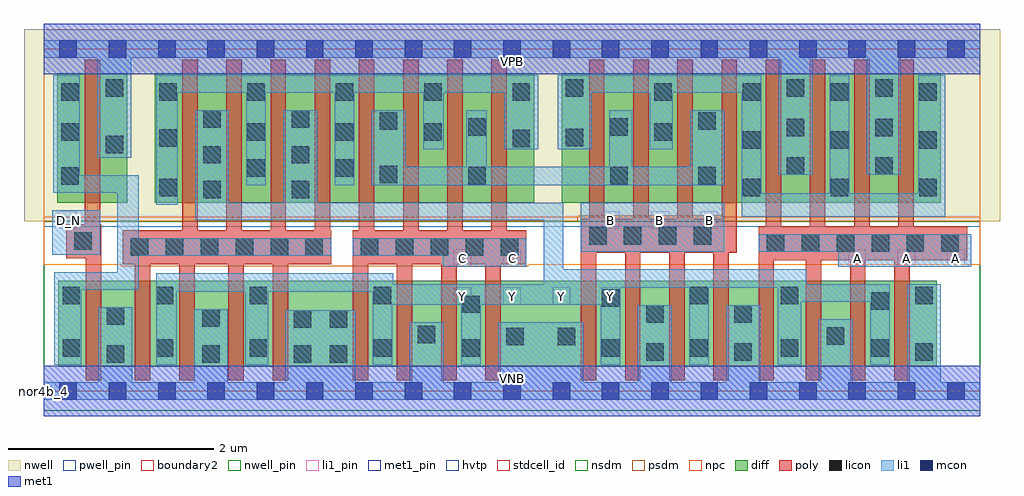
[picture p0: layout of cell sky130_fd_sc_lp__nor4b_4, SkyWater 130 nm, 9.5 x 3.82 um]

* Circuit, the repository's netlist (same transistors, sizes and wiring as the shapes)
* Copyright 2020 The SkyWater PDK Authors
*
* Licensed under the Apache License, Version 2.0 (the "License");
* you may not use this file except in compliance with the License.
* You may obtain a copy of the License at
*
*     https://www.apache.org/licenses/LICENSE-2.0
*
* Unless required by applicable law or agreed to in writing, software
* distributed under the License is distributed on an "AS IS" BASIS,
* WITHOUT WARRANTIES OR CONDITIONS OF ANY KIND, either express or implied.
* See the License for the specific language governing permissions and
* limitations under the License.
*
* SPDX-License-Identifier: Apache-2.0

.SUBCKT sky130_fd_sc_lp__nor4b_4 A B C D_N VGND VNB VPB VPWR Y
*.PININFO A:I B:I C:I D_N:I VGND:I VNB:I VPB:I VPWR:I Y:O
MMP0 VPWR A sndPA VPB sky130_fd_pr__pfet_01v8_hvt m=4 w=1.26U l=0.15U mult=1 sa=0.265
+ sb=0.265 sd=0.28 area=0.063 perim=1.14
MMP1 sndPA B sndPB VPB sky130_fd_pr__pfet_01v8_hvt m=4 w=1.26U l=0.15U mult=1 sa=0.265
+ sb=0.265 sd=0.28 area=0.063 perim=1.14
MMP2 sndPB C sndPC VPB sky130_fd_pr__pfet_01v8_hvt m=4 w=1.26U l=0.15U mult=1 sa=0.265
+ sb=0.265 sd=0.28 area=0.063 perim=1.14
MMP3 sndPC D Y VPB sky130_fd_pr__pfet_01v8_hvt m=4 w=1.26U l=0.15U mult=1 sa=0.265
+ sb=0.265 sd=0.28 area=0.063 perim=1.14
MMIP3 D D_N VPWR VPB sky130_fd_pr__pfet_01v8_hvt m=1 w=1.26U l=0.15U mult=1 sa=0.265
+ sb=0.265 sd=0.28 area=0.063 perim=1.14
MMN0 Y A VGND VNB sky130_fd_pr__nfet_01v8 m=4 w=0.84U l=0.15U mult=1 sa=0.265 sb=0.265
+ sd=0.28 area=0.063 perim=1.14
MMN1 Y B VGND VNB sky130_fd_pr__nfet_01v8 m=4 w=0.84U l=0.15U mult=1 sa=0.265 sb=0.265
+ sd=0.28 area=0.063 perim=1.14
MMN2 Y C VGND VNB sky130_fd_pr__nfet_01v8 m=4 w=0.84U l=0.15U mult=1 sa=0.265 sb=0.265
+ sd=0.28 area=0.063 perim=1.14
MMN3 Y D VGND VNB sky130_fd_pr__nfet_01v8 m=4 w=0.84U l=0.15U mult=1 sa=0.265 sb=0.265
+ sd=0.28 area=0.063 perim=1.14
MMIN3 D D_N VGND VNB sky130_fd_pr__nfet_01v8 m=1 w=0.84U l=0.15U mult=1 sa=0.265
+ sb=0.265 sd=0.28 area=0.063 perim=1.14
.ENDS sky130_fd_sc_lp__nor4b_4

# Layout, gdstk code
import gdstk
lib = gdstk.Library(unit=1e-6, precision=1e-09)
def R(c, l, rs):  # rectangles x0, y0, x1, y1
    for r in rs: c.add(gdstk.rectangle(r[:2], r[2:], *l))
def A(c, l, x, y, w, h, nx, ny, dx, dy):  # array of equal rectangles
    R(c, l, [(x+i*dx, y+j*dy, x+i*dx+w, y+j*dy+h) for i in range(nx) for j in range(ny)])
def P(c, l, *ps):  # polygons
    for p in ps: c.add(gdstk.Polygon(p, *l))
nwell_pin = (64, 16)
nwell = (64, 20)
diff = (65, 20)
poly = (66, 20)
licon = (66, 44)
li1_pin = (67, 16)
li1 = (67, 20)
mcon = (67, 44)
met1_pin = (68, 16)
met1 = (68, 20)
hvtp = (78, 44)
stdcell_id = (81, 4)
nsdm = (93, 44)
psdm = (94, 20)
npc = (95, 20)
pwell_pin = (122, 16)
boundary2 = (236, 0)

sky130_fd_sc_lp__nor4b_4 = lib.new_cell('sky130_fd_sc_lp__nor4b_4')
R(sky130_fd_sc_lp__nor4b_4, nwell_pin, [(0,3.085,9.12,3.33)])
R(sky130_fd_sc_lp__nor4b_4, nwell, [(-0.19,1.655,9.31,3.52)])
R(sky130_fd_sc_lp__nor4b_4, diff, [(0.145,0.235,8.695,1.075), (0.135,1.835,0.815,3.095), (1.085,1.835,4.775,3.095), (5.045,1.835,8.735,3.095)])
P(sky130_fd_sc_lp__nor4b_4, poly, [(0.56,1.625),(0.55,1.625),(0.55,3.225),(0.4,3.225),(0.4,1.625),(0.22,1.625),(0.22,1.295),(0.41,1.295),(0.41,0.105),(0.56,0.105)],
  [(2.8,1.565),(2.79,1.565),(2.79,3.225),(2.64,3.225),(2.64,1.565),(2.36,1.565),(2.36,3.225),(2.21,3.225),(2.21,1.565),(1.93,1.565),(1.93,3.225),(1.78,3.225),(1.78,1.565),(1.5,1.565),(1.5,3.225),(1.35,3.225),(1.35,1.565),(0.77,1.565),(0.77,1.235),(0.89,1.235),(0.89,0.105),(1.04,0.105),(1.04,1.235),(1.32,1.235),(1.32,0.105),(1.47,0.105),(1.47,1.235),(1.8,1.235),(1.8,0.105),(1.95,0.105),(1.95,1.235),(2.23,1.235),(2.23,0.105),(2.38,0.105),(2.38,1.235),(2.8,1.235)],
  [(4.7,1.565),(4.51,1.565),(4.51,3.225),(4.36,3.225),(4.36,1.565),(4.08,1.565),(4.08,3.225),(3.93,3.225),(3.93,1.565),(3.65,1.565),(3.65,3.225),(3.5,3.225),(3.5,1.565),(3.22,1.565),(3.22,3.225),(3.07,3.225),(3.07,1.565),(3.01,1.565),(3.01,0.105),(3.16,0.105),(3.16,1.235),(3.44,1.235),(3.44,0.105),(3.59,0.105),(3.59,1.235),(3.87,1.235),(3.87,0.105),(4.02,0.105),(4.02,1.235),(4.3,1.235),(4.3,0.105),(4.45,0.105),(4.45,1.235),(4.7,1.235)],
  [(6.75,3.225),(6.6,3.225),(6.6,1.675),(6.32,1.675),(6.32,3.225),(6.17,3.225),(6.17,1.675),(5.89,1.675),(5.89,3.225),(5.74,3.225),(5.74,1.675),(5.46,1.675),(5.46,3.225),(5.31,3.225),(5.31,1.675),(5.23,1.675),(5.23,0.105),(5.38,0.105),(5.38,1.345),(5.66,1.345),(5.66,0.105),(5.81,0.105),(5.81,1.345),(6.09,1.345),(6.09,0.105),(6.24,0.105),(6.24,1.345),(6.52,1.345),(6.52,0.105),(6.67,0.105),(6.67,1.345),(6.75,1.345)],
  [(8.99,1.605),(8.47,1.605),(8.47,3.225),(8.32,3.225),(8.32,1.605),(8.04,1.605),(8.04,3.225),(7.89,3.225),(7.89,1.605),(7.61,1.605),(7.61,3.225),(7.46,3.225),(7.46,1.605),(7.18,1.605),(7.18,3.225),(7.03,3.225),(7.03,1.605),(6.96,1.605),(6.96,0.105),(7.11,0.105),(7.11,1.275),(7.42,1.275),(7.42,0.105),(7.57,0.105),(7.57,1.275),(7.85,1.275),(7.85,0.105),(8,0.105),(8,1.275),(8.28,1.275),(8.28,0.105),(8.43,0.105),(8.43,1.275),(8.99,1.275)])
A(sky130_fd_sc_lp__nor4b_4, licon, 0.185, 0.335, 0.17, 0.17, 3, 2, 0.91, 0.51)
A(sky130_fd_sc_lp__nor4b_4, licon, 6.295, 0.335, 0.17, 0.17, 3, 1, 0.88, 0)
A(sky130_fd_sc_lp__nor4b_4, licon, 0.85, 1.315, 0.17, 0.17, 6, 1, 0.34, 0)
A(sky130_fd_sc_lp__nor4b_4, licon, 3.09, 1.315, 0.17, 0.17, 5, 1, 0.34, 0)
A(sky130_fd_sc_lp__nor4b_4, licon, 7.04, 1.355, 0.17, 0.17, 6, 1, 0.34, 0)
A(sky130_fd_sc_lp__nor4b_4, licon, 5.31, 1.425, 0.17, 0.17, 4, 1, 0.34, 0)
A(sky130_fd_sc_lp__nor4b_4, licon, 6.805, 1.895, 0.17, 0.17, 3, 2, 0.86, 0.465)
A(sky130_fd_sc_lp__nor4b_4, licon, 1.985, 2.435, 0.17, 0.17, 3, 1, 0.86, 0)
A(sky130_fd_sc_lp__nor4b_4, licon, 1.125, 2.825, 0.17, 0.17, 5, 1, 0.86, 0)
A(sky130_fd_sc_lp__nor4b_4, licon, 5.945, 2.825, 0.17, 0.17, 4, 1, 0.86, 0)
R(sky130_fd_sc_lp__nor4b_4, licon, [(0.615,0.275,0.785,0.445), (1.545,0.275,1.715,0.445), (2.435,0.275,2.605,0.445), (2.785,0.275,2.955,0.445), (5.865,0.295,6.035,0.465), (6.725,0.295,6.895,0.465), (8.485,0.295,8.655,0.465), (3.215,0.335,3.385,0.505), (4.075,0.335,4.245,0.505), (5.435,0.335,5.605,0.505), (4.505,0.445,4.675,0.615), (5.005,0.445,5.175,0.615), (7.625,0.45,7.795,0.62), (3.645,0.465,3.815,0.635), (2.435,0.615,2.605,0.785), (2.785,0.615,2.955,0.785), (1.545,0.625,1.715,0.795), (0.615,0.645,0.785,0.815), (5.865,0.665,6.035,0.835), (6.725,0.665,6.895,0.835), (4.075,0.76,4.245,0.93), (8.055,0.79,8.225,0.96), (5.435,0.82,5.605,0.99), (3.215,0.845,3.385,1.015), (6.295,0.845,6.465,1.015), (7.175,0.845,7.345,1.015), (8.485,0.845,8.655,1.015), (0.3,1.375,0.47,1.545), (1.555,1.875,1.725,2.045), (2.415,1.875,2.585,2.045), (1.125,1.895,1.295,2.065), (0.175,2.01,0.345,2.18), (4.135,2.015,4.305,2.185), (5.515,2.015,5.685,2.185), (6.375,2.015,6.545,2.185), (3.275,2.025,3.445,2.195), (1.985,2.085,2.155,2.255), (2.845,2.085,3.015,2.255), (7.235,2.105,7.405,2.275), (8.095,2.105,8.265,2.275), (1.555,2.215,1.725,2.385), (2.415,2.215,2.585,2.385), (0.605,2.315,0.775,2.485), (4.565,2.375,4.735,2.545), (1.125,2.38,1.295,2.55), (5.085,2.385,5.255,2.555), (0.175,2.435,0.345,2.605), (5.945,2.435,6.115,2.605), (7.235,2.48,7.405,2.65), (8.095,2.48,8.265,2.65), (4.135,2.485,4.305,2.655), (5.515,2.485,5.685,2.655), (3.275,2.545,3.445,2.715), (6.375,2.545,6.545,2.715), (1.555,2.565,1.725,2.735), (2.415,2.565,2.585,2.735), (0.175,2.825,0.345,2.995), (0.605,2.865,0.775,3.035), (5.085,2.865,5.255,3.035), (7.235,2.865,7.405,3.035), (8.095,2.865,8.265,3.035)])
A(sky130_fd_sc_lp__nor4b_4, li1_pin, 3.995, 0.84, 0.17, 0.17, 4, 1, 0.48, 0)
A(sky130_fd_sc_lp__nor4b_4, li1_pin, 7.835, 1.21, 0.17, 0.17, 3, 1, 0.48, 0)
A(sky130_fd_sc_lp__nor4b_4, li1_pin, 5.435, 1.58, 0.17, 0.17, 3, 1, 0.48, 0)
R(sky130_fd_sc_lp__nor4b_4, li1_pin, [(3.995,1.21,4.165,1.38), (4.475,1.21,4.645,1.38), (0.155,1.58,0.325,1.75)])
R(sky130_fd_sc_lp__nor4b_4, li1, [(0.085,1.325,0.55,1.76), (5.23,1.355,6.625,1.835)])
P(sky130_fd_sc_lp__nor4b_4, li1, [(8.235,1.04),(7.425,1.04),(7.425,1.185),(5.06,1.185),(5.06,1.835),(2.665,1.835),(2.665,2.735),(2.335,2.735),(2.335,1.835),(1.805,1.835),(1.805,2.735),(1.475,2.735),(1.475,1.665),(4.87,1.665),(4.87,1.04),(3.405,1.04),(3.405,1.145),(1.095,1.145),(1.095,0.255),(1.295,0.255),(1.295,0.965),(1.965,0.965),(1.965,0.255),(2.185,0.255),(2.185,0.965),(3.205,0.965),(3.205,0.255),(3.395,0.255),(3.395,0.84),(4.065,0.84),(4.065,0.255),(4.255,0.255),(4.255,0.84),(5.425,0.84),(5.425,0.255),(5.615,0.255),(5.615,1.005),(6.285,1.005),(6.285,0.255),(6.475,0.255),(6.475,1.005),(7.145,1.005),(7.145,0.255),(7.375,0.255),(7.375,0.87),(8.045,0.87),(8.045,0.255),(8.235,0.255)],
  [(2.8,1.485),(0.925,1.485),(0.925,2.1),(0.355,2.1),(0.355,3.075),(0.095,3.075),(0.095,1.93),(0.72,1.93),(0.72,1.155),(0.105,1.155),(0.105,0.255),(0.365,0.255),(0.365,0.985),(0.925,0.985),(0.925,1.315),(2.8,1.315)],
  [(9.12,0.085),(8.735,0.085),(8.735,1.04),(8.405,1.04),(8.405,0.085),(7.875,0.085),(7.875,0.7),(7.545,0.7),(7.545,0.085),(6.975,0.085),(6.975,0.835),(6.645,0.835),(6.645,0.085),(6.115,0.085),(6.115,0.835),(5.785,0.835),(5.785,0.085),(5.255,0.085),(5.255,0.67),(4.425,0.67),(4.425,0.085),(3.895,0.085),(3.895,0.67),(3.565,0.67),(3.565,0.085),(3.035,0.085),(3.035,0.785),(2.355,0.785),(2.355,0.085),(1.795,0.085),(1.795,0.795),(1.465,0.795),(1.465,0.085),(0.865,0.085),(0.865,0.815),(0.535,0.815),(0.535,0.085),(0,0.085),(0,-0.085),(9.12,-0.085)],
  [(6.625,2.735),(6.295,2.735),(6.295,2.185),(5.73,2.185),(5.73,2.735),(5.505,2.735),(5.505,2.185),(4.315,2.185),(4.315,2.735),(4.115,2.735),(4.115,2.185),(3.525,2.185),(3.525,2.735),(3.195,2.735),(3.195,2.005),(6.625,2.005)],
  [(8.775,3.075),(8.515,3.075),(8.515,1.925),(7.845,1.925),(7.845,3.075),(7.655,3.075),(7.655,1.925),(6.985,1.925),(6.985,3.075),(5.005,3.075),(5.005,2.355),(5.335,2.355),(5.335,2.905),(5.9,2.905),(5.9,2.355),(6.125,2.355),(6.125,2.905),(6.795,2.905),(6.795,1.695),(8.775,1.695)],
  [(4.7,1.485),(3.01,1.485),(3.01,1.315),(3.885,1.315),(3.885,1.21),(4.7,1.21)],
  [(9.03,1.525),(6.96,1.525),(6.96,1.355),(7.735,1.355),(7.735,1.21),(9.03,1.21)],
  [(4.815,3.075),(1.095,3.075),(1.095,1.815),(1.305,1.815),(1.305,2.905),(1.975,2.905),(1.975,2.005),(2.165,2.005),(2.165,2.905),(2.835,2.905),(2.835,2.005),(3.025,2.005),(3.025,2.905),(3.695,2.905),(3.695,2.355),(3.895,2.355),(3.895,2.905),(4.485,2.905),(4.485,2.355),(4.815,2.355)],
  [(9.12,3.415),(0,3.415),(0,3.245),(0.525,3.245),(0.525,2.27),(0.855,2.27),(0.855,3.245),(7.155,3.245),(7.155,2.105),(7.485,2.105),(7.485,3.245),(8.015,3.245),(8.015,2.105),(8.345,2.105),(8.345,3.245),(9.12,3.245)])
A(sky130_fd_sc_lp__nor4b_4, mcon, 0.155, -0.085, 0.17, 0.17, 19, 2, 0.48, 3.33)
R(sky130_fd_sc_lp__nor4b_4, met1_pin, [(0,0,9.12,0.245), (0,3.085,9.12,3.33)])
R(sky130_fd_sc_lp__nor4b_4, met1, [(0,-0.245,9.12,0.245), (0,3.085,9.12,3.575)])
R(sky130_fd_sc_lp__nor4b_4, hvtp, [(0,1.6,9.12,3.33)])
R(sky130_fd_sc_lp__nor4b_4, stdcell_id, [(0,0,9.12,3.33)])
R(sky130_fd_sc_lp__nor4b_4, nsdm, [(0,-0.19,9.12,1.655)])
P(sky130_fd_sc_lp__nor4b_4, psdm, [(9.12,3.52),(0,3.52),(0,1.655),(5.2,1.655),(5.2,1.705),(6.61,1.705),(6.61,1.655),(9.12,1.655)])
P(sky130_fd_sc_lp__nor4b_4, npc, [(9.12,1.695),(0,1.695),(0,1.23),(0.75,1.23),(0.75,1.215),(4.72,1.215),(4.72,1.23),(9.12,1.23)])
R(sky130_fd_sc_lp__nor4b_4, pwell_pin, [(0,0,9.12,0.245)])
R(sky130_fd_sc_lp__nor4b_4, boundary2, [(0,0,9.12,3.33)])
sky130_fd_sc_lp__nor4b_4.add(gdstk.Label('VNB', (4.56,0.123), layer=64, texttype=59))
sky130_fd_sc_lp__nor4b_4.add(gdstk.Label('VPB', (4.56,3.208), layer=64, texttype=5))
sky130_fd_sc_lp__nor4b_4.add(gdstk.Label('nor4b_4', (0,0), layer=83, texttype=44))
sky130_fd_sc_lp__nor4b_4.add(gdstk.Label('VPWR', (4.56,3.208), layer=68, texttype=5))
sky130_fd_sc_lp__nor4b_4.add(gdstk.Label('VGND', (4.56,0.123), layer=68, texttype=5))
sky130_fd_sc_lp__nor4b_4.add(gdstk.Label('A', (7.92,1.295), layer=67, texttype=5))
sky130_fd_sc_lp__nor4b_4.add(gdstk.Label('A', (8.4,1.295), layer=67, texttype=5))
sky130_fd_sc_lp__nor4b_4.add(gdstk.Label('A', (8.88,1.295), layer=67, texttype=5))
sky130_fd_sc_lp__nor4b_4.add(gdstk.Label('B', (5.52,1.665), layer=67, texttype=5))
sky130_fd_sc_lp__nor4b_4.add(gdstk.Label('B', (6,1.665), layer=67, texttype=5))
sky130_fd_sc_lp__nor4b_4.add(gdstk.Label('B', (6.48,1.665), layer=67, texttype=5))
sky130_fd_sc_lp__nor4b_4.add(gdstk.Label('C', (4.08,1.295), layer=67, texttype=5))
sky130_fd_sc_lp__nor4b_4.add(gdstk.Label('C', (4.56,1.295), layer=67, texttype=5))
sky130_fd_sc_lp__nor4b_4.add(gdstk.Label('D_N', (0.24,1.665), layer=67, texttype=5))
sky130_fd_sc_lp__nor4b_4.add(gdstk.Label('Y', (4.08,0.925), layer=67, texttype=5))
sky130_fd_sc_lp__nor4b_4.add(gdstk.Label('Y', (4.56,0.925), layer=67, texttype=5))
sky130_fd_sc_lp__nor4b_4.add(gdstk.Label('Y', (5.04,0.925), layer=67, texttype=5))
sky130_fd_sc_lp__nor4b_4.add(gdstk.Label('Y', (5.52,0.925), layer=67, texttype=5))

lib.write_gds('sky130_fd_sc_lp__nor4b_4.gds')
